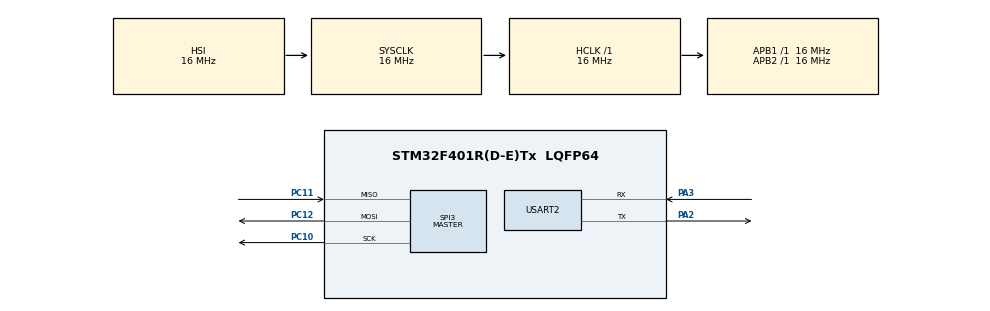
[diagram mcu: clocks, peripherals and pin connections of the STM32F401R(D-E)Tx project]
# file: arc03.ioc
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Mcu.Family=STM32F4
Mcu.Name=STM32F401R(D-E)Tx
Mcu.Package=LQFP64
NVIC.PriorityGroup=NVIC_PRIORITYGROUP_4
NVIC.SPI3_IRQn=true\:0\:0\:false\:false\:true\:true\:true\:true
NVIC.USART2_IRQn=true\:0\:0\:false\:false\:true\:true\:true\:true
PA2.Mode=Asynchronous
PA2.Signal=USART2_TX
PA3.Mode=Asynchronous
PA3.Signal=USART2_RX
PC10.Mode=Full_Duplex_Master
PC10.Signal=SPI3_SCK
PC11.Mode=Full_Duplex_Master
PC11.Signal=SPI3_MISO
PC12.Mode=Full_Duplex_Master
PC12.Signal=SPI3_MOSI
ProjectManager.HeapSize=0x200
ProjectManager.StackSize=0x400
ProjectManager.TargetToolchain=STM32CubeIDE
RCC.AHBFreq_Value=16000000
RCC.APB1Freq_Value=16000000
RCC.APB2Freq_Value=16000000
RCC.CortexFreq_Value=16000000
RCC.HSE_VALUE=25000000
RCC.HSI_VALUE=16000000
RCC.LSE_VALUE=32768
RCC.SYSCLKFreq_VALUE=16000000
RCC.VCOOutputFreq_Value=192000000
SPI3.Direction=SPI_DIRECTION_2LINES
SPI3.Mode=SPI_MODE_MASTER
SPI3.VirtualType=VM_MASTER
USART2.VirtualMode=VM_ASYNC
board=custom

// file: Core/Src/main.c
/* USER CODE BEGIN Header */
/**
  ******************************************************************************
  * @file           : main.c
  * @brief          : Main program body
  ******************************************************************************
  * @attention
  *
  * Copyright (c) 2025 STMicroelectronics.
  * All rights reserved.
  *
  * This software is licensed under terms that can be found in the LICENSE file
  * in the root directory of this software component.
  * If no LICENSE file comes with this software, it is provided AS-IS.
  *
  ******************************************************************************
  */
/* USER CODE END Header */
#include "main.h"

/* USER CODE BEGIN Includes */
#include "stm32f4xx_hal.h"
#include "enc.h"
#include <string.h>
#include <stdio.h>

SPI_HandleTypeDef hspi3;

UART_HandleTypeDef huart2;

void SystemClock_Config(void);
static void MX_GPIO_Init(void);
static void MX_USART2_UART_Init(void);
static void MX_SPI3_Init(void);

int main(void)
{

  /* USER CODE BEGIN 1 */
  //heartbeat led
  HAL_GPIO_WritePin(GPIOA,GPIO_PIN_5,GPIO_PIN_RESET);
  /* USER CODE END 1 */

  /* MCU Configuration--------------------------------------------------------*/

  /* Reset of all peripherals, Initializes the Flash interface and the Systick. */
  HAL_Init();

  /* Configure the system clock */
  SystemClock_Config();

  /* Initialize all configured peripherals */
  MX_GPIO_Init();
  MX_USART2_UART_Init();
  MX_SPI3_Init();
  /* USER CODE BEGIN 2 */
  uint8_t mydata[100];
  enc_init();
  check_version();
  check_duplex();
  sendarp();
  uint8_t len = enc_receivepacket(mydata,sizeof(mydata)/sizeof(mydata[0]));
  /* USER CODE END 2 */

  /* Infinite loop */
  while (1)
  {
	  //heartbeat led
	  HAL_GPIO_WritePin(GPIOA,GPIO_PIN_5,GPIO_PIN_RESET);
	  HAL_Delay(1000);
	  HAL_GPIO_WritePin(GPIOA,GPIO_PIN_5,GPIO_PIN_SET);
	  HAL_Delay(2000);
  }
}

void SystemClock_Config(void)
{
  RCC_OscInitTypeDef RCC_OscInitStruct = {0};
  RCC_ClkInitTypeDef RCC_ClkInitStruct = {0};

  /** Configure the main internal regulator output voltage
  */
  __HAL_RCC_PWR_CLK_ENABLE();
  __HAL_PWR_VOLTAGESCALING_CONFIG(PWR_REGULATOR_VOLTAGE_SCALE2);

  /** Initializes the RCC Oscillators according to the specified parameters
  * in the RCC_OscInitTypeDef structure.
  */
  RCC_OscInitStruct.OscillatorType = RCC_OSCILLATORTYPE_HSI;
  RCC_OscInitStruct.HSIState = RCC_HSI_ON;
  RCC_OscInitStruct.HSICalibrationValue = RCC_HSICALIBRATION_DEFAULT;
  RCC_OscInitStruct.PLL.PLLState = RCC_PLL_NONE;
  if (HAL_RCC_OscConfig(&RCC_OscInitStruct) != HAL_OK)
  {
    Error_Handler();
  }

  /** Initializes the CPU, AHB and APB buses clocks
  */
  RCC_ClkInitStruct.ClockType = RCC_CLOCKTYPE_HCLK|RCC_CLOCKTYPE_SYSCLK
                              |RCC_CLOCKTYPE_PCLK1|RCC_CLOCKTYPE_PCLK2;
  RCC_ClkInitStruct.SYSCLKSource = RCC_SYSCLKSOURCE_HSI;
  RCC_ClkInitStruct.AHBCLKDivider = RCC_SYSCLK_DIV1;
  RCC_ClkInitStruct.APB1CLKDivider = RCC_HCLK_DIV1;
  RCC_ClkInitStruct.APB2CLKDivider = RCC_HCLK_DIV1;

  if (HAL_RCC_ClockConfig(&RCC_ClkInitStruct, FLASH_LATENCY_0) != HAL_OK)
  {
    Error_Handler();
  }
}

static void MX_SPI3_Init(void)
{
    hspi3.Instance               = SPI3;
    hspi3.Init.Mode              = SPI_MODE_MASTER;
    hspi3.Init.Direction         = SPI_DIRECTION_2LINES;
    hspi3.Init.DataSize          = SPI_DATASIZE_8BIT;
    hspi3.Init.CLKPolarity       = SPI_POLARITY_LOW;   // CPOL = 0
    hspi3.Init.CLKPhase          = SPI_PHASE_1EDGE;    // CPHA = 0
    hspi3.Init.NSS               = SPI_NSS_SOFT;       // Manual CS
    hspi3.Init.BaudRatePrescaler = SPI_BAUDRATEPRESCALER_32; // 1.3125 MHz
    hspi3.Init.FirstBit          = SPI_FIRSTBIT_MSB;
    hspi3.Init.TIMode            = SPI_TIMODE_DISABLE;
    hspi3.Init.CRCCalculation    = SPI_CRCCALCULATION_DISABLE;
    hspi3.Init.CRCPolynomial     = 7;

    if (HAL_SPI_Init(&hspi3) != HAL_OK) {
        Error_Handler();
    }
}

static void MX_USART2_UART_Init(void)
{

  /* USER CODE BEGIN USART2_Init 0 */
	__HAL_RCC_USART2_CLK_ENABLE();
  /* USER CODE END USART2_Init 0 */

  huart2.Instance = USART2;
  huart2.Init.BaudRate = 9600;
  huart2.Init.WordLength = UART_WORDLENGTH_8B;
  huart2.Init.StopBits = UART_STOPBITS_1;
  huart2.Init.Parity = UART_PARITY_NONE;
  huart2.Init.Mode = UART_MODE_TX_RX;
  huart2.Init.HwFlowCtl = UART_HWCONTROL_NONE;
  huart2.Init.OverSampling = UART_OVERSAMPLING_16;
  if (HAL_UART_Init(&huart2) != HAL_OK)
  {
    Error_Handler();
  }

}

static void MX_GPIO_Init(void)
{

  /* GPIO Ports Clock Enable */
  __HAL_RCC_GPIOA_CLK_ENABLE();
  __HAL_RCC_GPIOC_CLK_ENABLE();

  /* USER CODE BEGIN MX_GPIO_Init_2 */
  GPIO_InitTypeDef GPIO_InitStruct = {0};

  //SCK-PC10
  GPIO_InitStruct.Pin       = GPIO_PIN_10;
  GPIO_InitStruct.Mode      = GPIO_MODE_AF_PP;
  GPIO_InitStruct.Pull      = GPIO_NOPULL;
  GPIO_InitStruct.Speed     = GPIO_SPEED_FREQ_VERY_HIGH;
  GPIO_InitStruct.Alternate = GPIO_AF6_SPI3;
  HAL_GPIO_Init(GPIOC, &GPIO_InitStruct);

  // MISO - PC11
  GPIO_InitStruct.Pin       = GPIO_PIN_11;
  GPIO_InitStruct.Mode      = GPIO_MODE_AF_PP;
  GPIO_InitStruct.Pull      = GPIO_NOPULL;
  GPIO_InitStruct.Speed     = GPIO_SPEED_FREQ_VERY_HIGH;
  GPIO_InitStruct.Alternate = GPIO_AF6_SPI3;
  HAL_GPIO_Init(GPIOC, &GPIO_InitStruct);

  // MOSI - PC12
  GPIO_InitStruct.Pin       = GPIO_PIN_12;
  GPIO_InitStruct.Mode      = GPIO_MODE_AF_PP;
  GPIO_InitStruct.Pull      = GPIO_NOPULL;
  GPIO_InitStruct.Speed     = GPIO_SPEED_FREQ_VERY_HIGH;
  GPIO_InitStruct.Alternate = GPIO_AF6_SPI3;
  HAL_GPIO_Init(GPIOC, &GPIO_InitStruct);

  // === ENC28J60 Chip Select (example: PA4) ===
  GPIO_InitStruct.Pin   = GPIO_PIN_4;
  GPIO_InitStruct.Mode  = GPIO_MODE_OUTPUT_PP;
  GPIO_InitStruct.Pull  = GPIO_NOPULL;
  GPIO_InitStruct.Speed = GPIO_SPEED_FREQ_VERY_HIGH;
  HAL_GPIO_Init(GPIOA, &GPIO_InitStruct);
  HAL_GPIO_WritePin(GPIOA, GPIO_PIN_4, GPIO_PIN_SET); // CS high (inactive)

  // === ENC28J60 Reset (PC13) ===
  GPIO_InitStruct.Pin   = GPIO_PIN_13;
  GPIO_InitStruct.Mode  = GPIO_MODE_OUTPUT_PP;
  GPIO_InitStruct.Pull  = GPIO_NOPULL;
  GPIO_InitStruct.Speed = GPIO_SPEED_FREQ_VERY_HIGH;
  HAL_GPIO_Init(GPIOC, &GPIO_InitStruct);
  HAL_GPIO_WritePin(GPIOC, GPIO_PIN_13, GPIO_PIN_SET); // Reset released

  //LD2
  GPIO_InitStruct.Pin   = GPIO_PIN_5;
  GPIO_InitStruct.Mode  = GPIO_MODE_OUTPUT_PP;
  HAL_GPIO_Init(GPIOA, &GPIO_InitStruct);

  //UART_TX_PA2
  GPIO_InitStruct.Pin   = GPIO_PIN_2;
  GPIO_InitStruct.Mode  = GPIO_MODE_AF_PP;
  GPIO_InitStruct.Speed = GPIO_SPEED_FREQ_HIGH;
  GPIO_InitStruct.Pull  = GPIO_NOPULL;
  GPIO_InitStruct.Alternate = GPIO_AF7_USART2;
  HAL_GPIO_Init(GPIOA, &GPIO_InitStruct);

  //UART_RX_PA3
  GPIO_InitStruct.Pin   = GPIO_PIN_3;
  HAL_GPIO_Init(GPIOA, &GPIO_InitStruct);
  /* USER CODE END MX_GPIO_Init_2 */
}

void Error_Handler(void)
{
  __disable_irq();
  while (1)
  {
  }
}
